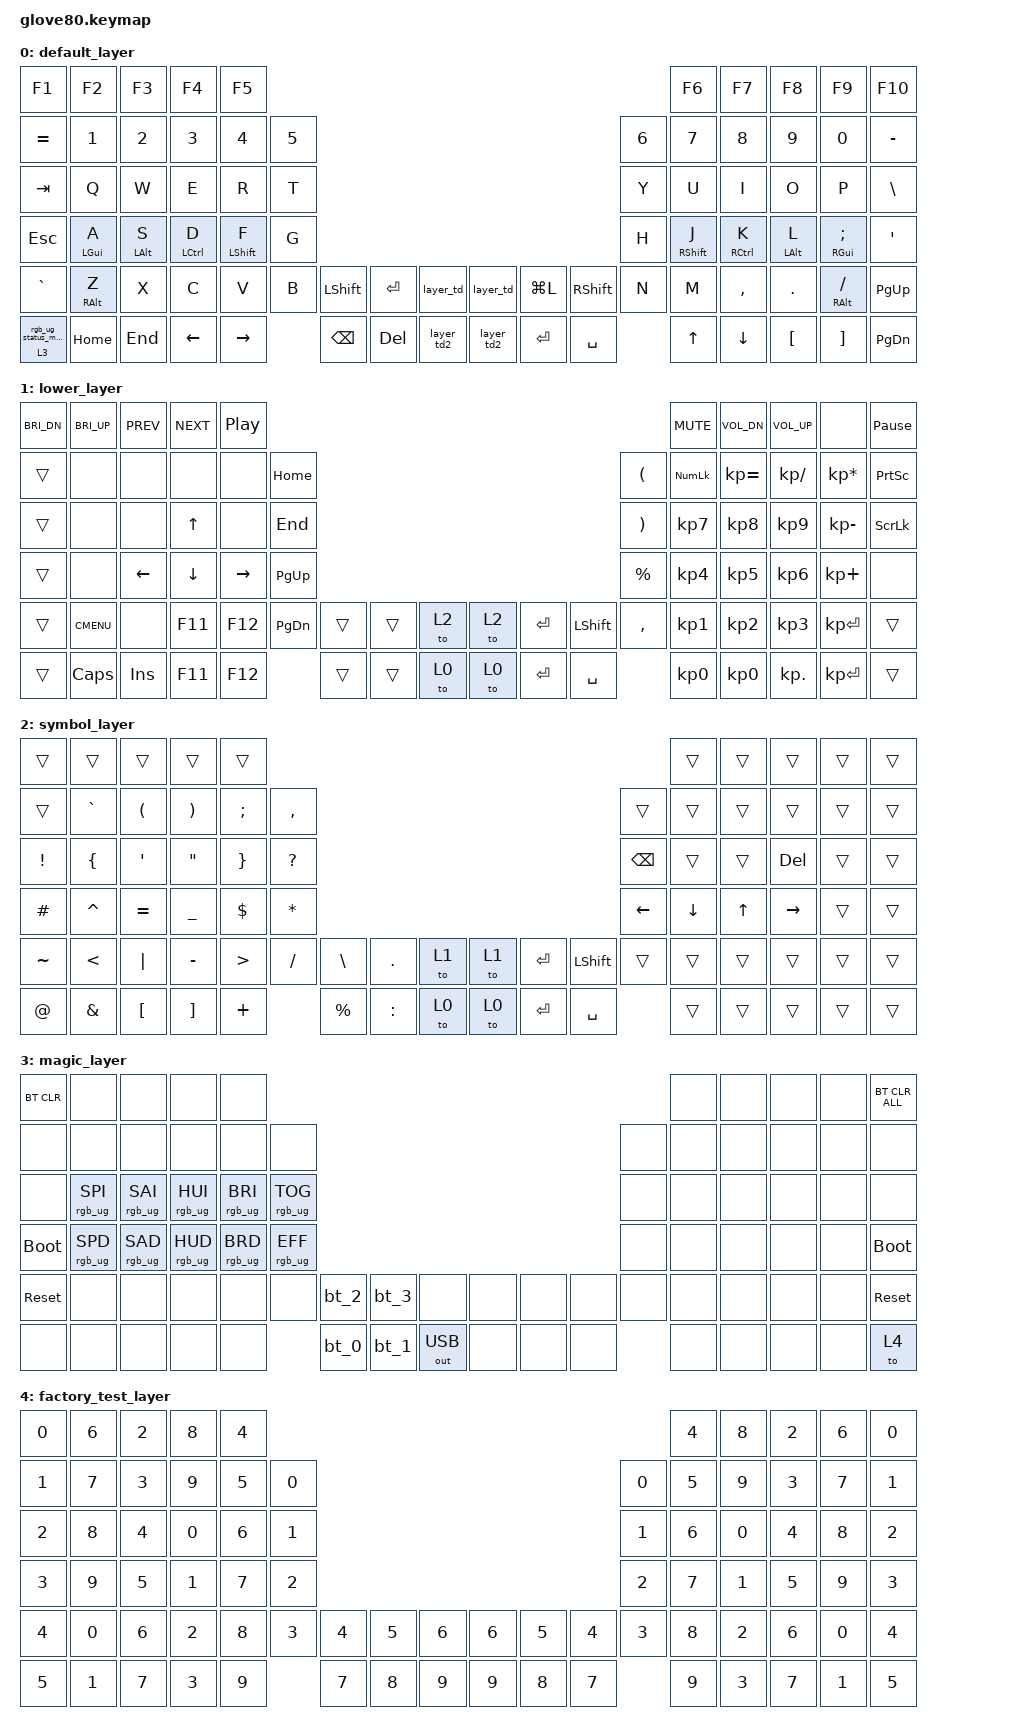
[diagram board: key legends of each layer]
/*
 * Copyright (c) 2020 The ZMK Contributors
 *
 * SPDX-License-Identifier: MIT
 */

#include <behaviors.dtsi>
#include <dt-bindings/zmk/bt.h>
#include <dt-bindings/zmk/keys.h>
#include <dt-bindings/zmk/outputs.h>
#include <dt-bindings/zmk/rgb.h>

#define HYPER LC(LS(LG(LALT)))

// layers

#define DEFAULT 0
#define LOWER 1
#define MAGIC 2
#define FACTORY_TEST 3

/ {
    behaviors {
        // For the "layer" key, it'd nice to be able to use it as either a shift or a toggle.
        // Configure it as a tap dance, so the first tap (or hold) is a &mo and the second tap is a &to

        layer_td: tap_dance_0 {
            compatible = "zmk,behavior-tap-dance";
            label = "LAYER_TAP_DANCE";
            #binding-cells = <0>;
            tapping-term-ms = <200>;
            bindings = <&mo 1>, <&to 1>;
        };

        magic: magic_hold_tap {
            compatible = "zmk,behavior-hold-tap";
            label = "MAGIC_HOLD_TAP";
            #binding-cells = <2>;
            flavor = "tap-preferred";
            tapping-term-ms = <200>;
            bindings = <&mo>, <&rgb_ug_status_macro>;
        };

        hml: hml {
            compatible = "zmk,behavior-hold-tap";
            label = "HML";
            #binding-cells = <2>;
            bindings = <&kp>, <&kp>;

            require-prior-idle-ms = <150>;
            tapping-term-ms = <280>;
            quick-tap-ms = <175>;
            flavor = "balanced";
            hold-trigger-on-release;
            hold-trigger-key-positions = <16 17 18 19 20 21 28 29 30 31 32 33 40 41 42 43 44 45 58 59 60 61 62 63 75 76 77 78 79 55 56 57 72 73 74 52 53 54 69 70 71>;
        };

        hmr: hmr {
            compatible = "zmk,behavior-hold-tap";
            label = "HMR";
            #binding-cells = <2>;
            bindings = <&kp>, <&kp>;

            require-prior-idle-ms = <150>;
            tapping-term-ms = <280>;
            quick-tap-ms = <175>;
            flavor = "balanced";
            hold-trigger-on-release;
            hold-trigger-key-positions = <10 11 22 23 24 25 26 27 34 35 36 37 38 39 46 47 48 49 50 51 64 65 66 67 68 69 12 13 14 15 52 53 54 70 71 55 56 72 73 74 57>;
        };

        layer_td2: layer_td2 {
            compatible = "zmk,behavior-tap-dance";
            label = "LAYER_TD2";
            #binding-cells = <0>;
            tapping-term-ms = <200>;
            bindings = <&mo 2>, <&to 2>;
        };
    };

    macros {
        rgb_ug_status_macro: rgb_ug_status_macro_0 {
            label = "RGB_UG_STATUS";
            compatible = "zmk,behavior-macro";
            #binding-cells = <0>;
            bindings = <&rgb_ug RGB_STATUS>;
        };

        bt_0: bt_profile_macro_0 {
            label = "BT_0";
            compatible = "zmk,behavior-macro";
            #binding-cells = <0>;
            bindings = <&out OUT_BLE &bt BT_SEL 0>;
        };

        bt_1: bt_profile_macro_1 {
            label = "BT_1";
            compatible = "zmk,behavior-macro";
            #binding-cells = <0>;
            bindings = <&out OUT_BLE &bt BT_SEL 1>;
        };

        bt_2: bt_profile_macro_2 {
            label = "BT_2";
            compatible = "zmk,behavior-macro";
            #binding-cells = <0>;
            bindings = <&out OUT_BLE &bt BT_SEL 2>;
        };

        bt_3: bt_profile_macro_3 {
            label = "BT_3";
            compatible = "zmk,behavior-macro";
            #binding-cells = <0>;
            bindings = <&out OUT_BLE &bt BT_SEL 3>;
        };
    };

    keymap {
        compatible = "zmk,keymap";

        default_layer {
            // ---------------------------------------------------------------------------------------------------------------------------------
            // |  F1   |  F2 |  F3 |  F4  |  F5  |                                                               |  F6   |  F7   |  F8  |   F9  |  F10 |
            // |  =    |  1  |  2  |  3   |  4   |  5   |                                                 |  6   |   7   |   8   |  9   |   0   |   -  |
            // |  TAB  |  Q  |  W  |  E   |  R   |  T   |                                                 |  Y   |   U   |   I   |  O   |   P   |   \  |
            // |  ESC  |  A  |  S  |  D   |  F   |  G   |                                                 |  H   |   J   |   K   |  L   |   ;   |   '  |
            // |   `   |  Z  |  X  |  C   |  V   |  B   | LSHFT | LCTRL | LOWER | | LGUI  | RCTRL | RSHFT |  N   |   M   |   ,   |  .   |   /   | PGUP |
            // | MAGIC | HOME| END | LEFT | RIGHT|      | BSPC  | DEL   | LALT  | | RALT  | RET   | SPACE |      |  UP   | DOWN  |  [   |   ]   | PGDN |

            bindings = <
&kp F1      &kp F2            &kp F3           &kp F4        &kp F5                                                                                             &kp F6         &kp F7        &kp F8           &kp F9          &kp F10
&kp EQUAL   &kp N1            &kp N2           &kp N3        &kp N4         &kp N5                                                                      &kp N6  &kp N7         &kp N8        &kp N9           &kp N0          &kp MINUS
&kp TAB     &kp Q             &kp W            &kp E         &kp R          &kp T                                                                       &kp Y   &kp U          &kp I         &kp O            &kp P           &kp BSLH
&kp ESC     &hml LGUI A       &hml LEFT_ALT S  &hml LCTRL D  &hml LSHIFT F  &kp G                                                                       &kp H   &hmr RSHIFT J  &hmr RCTRL K  &hmr LEFT_ALT L  &hmr RGUI SEMI  &kp SQT
&kp GRAVE   &hml RIGHT_ALT Z  &kp X            &kp C         &kp V          &kp B   &kp LSHFT  &kp ENTER  &layer_td   &layer_td   &kp LG(L)  &kp RSHFT  &kp N   &kp M          &kp COMMA     &kp DOT          &hmr RALT FSLH  &kp PG_UP
&magic 3 0  &kp HOME          &kp END          &kp LEFT      &kp RIGHT              &kp BSPC   &kp DEL    &layer_td2  &layer_td2  &kp RET    &kp SPACE          &kp UP         &kp DOWN      &kp LBKT         &kp RBKT        &kp PG_DN
            >;
        };

        lower_layer {
            bindings = <
&kp C_BRI_DN  &kp C_BRI_UP  &kp C_PREV  &kp C_NEXT  &kp C_PP                                                                                  &kp C_MUTE  &kp C_VOL_DN  &kp C_VOL_UP   &none            &kp PAUSE_BREAK
&trans        &none         &none       &none       &none      &kp HOME                                                            &kp LPAR   &kp KP_NUM  &kp KP_EQUAL  &kp KP_DIVIDE  &kp KP_MULTIPLY  &kp PSCRN
&trans        &none         &none       &kp UP      &none      &kp END                                                             &kp RPAR   &kp KP_N7   &kp KP_N8     &kp KP_N9      &kp KP_MINUS     &kp SLCK
&trans        &none         &kp LEFT    &kp DOWN    &kp RIGHT  &kp PG_UP                                                           &kp PRCNT  &kp KP_N4   &kp KP_N5     &kp KP_N6      &kp KP_PLUS      &none
&trans        &kp K_CMENU   &none       &kp F11     &kp F12    &kp PG_DN  &trans  &trans  &to 2  &to 2  &kp ENTER  &kp LEFT_SHIFT  &kp COMMA  &kp KP_N1   &kp KP_N2     &kp KP_N3      &kp KP_ENTER     &trans
&trans        &kp CAPS      &kp INS     &kp F11     &kp F12               &trans  &trans  &to 0  &to 0  &kp ENTER  &kp SPACE                  &kp KP_N0   &kp KP_N0     &kp KP_DOT     &kp KP_ENTER     &trans
            >;
        };

        symbol_layer {
            bindings = <
&trans           &trans          &trans                &trans                 &trans                                                                                                             &trans    &trans  &trans      &trans  &trans
&trans           &kp GRAVE       &kp LEFT_PARENTHESIS  &kp RIGHT_PARENTHESIS  &kp SEMICOLON     &kp COMMA                                                                         &trans         &trans    &trans  &trans      &trans  &trans
&kp EXCLAMATION  &kp LEFT_BRACE  &kp SINGLE_QUOTE      &kp DOUBLE_QUOTES      &kp RIGHT_BRACE   &kp QUESTION                                                                      &kp BACKSPACE  &trans    &trans  &kp DELETE  &trans  &trans
&kp HASH         &kp CARET       &kp EQUAL             &kp UNDERSCORE         &kp DOLLAR        &kp ASTERISK                                                                      &kp LEFT       &kp DOWN  &kp UP  &kp RIGHT   &trans  &trans
&kp TILDE        &kp LESS_THAN   &kp PIPE              &kp MINUS              &kp GREATER_THAN  &kp SLASH     &kp BACKSLASH  &kp PERIOD  &to 1  &to 1  &kp ENTER  &kp LEFT_SHIFT  &trans         &trans    &trans  &trans      &trans  &trans
&kp AT_SIGN      &kp AMPERSAND   &kp LEFT_BRACKET      &kp RIGHT_BRACKET      &kp PLUS                        &kp PERCENT    &kp COLON   &to 0  &to 0  &kp ENTER  &kp SPACE                      &trans    &trans  &trans      &trans  &trans
            >;
        };

        magic_layer {
            bindings = <
&bt BT_CLR   &none            &none            &none            &none                                                                                     &none  &none  &none  &none  &bt BT_CLR_ALL
&none        &none            &none            &none            &none            &none                                                             &none  &none  &none  &none  &none  &none
&none        &rgb_ug RGB_SPI  &rgb_ug RGB_SAI  &rgb_ug RGB_HUI  &rgb_ug RGB_BRI  &rgb_ug RGB_TOG                                                   &none  &none  &none  &none  &none  &none
&bootloader  &rgb_ug RGB_SPD  &rgb_ug RGB_SAD  &rgb_ug RGB_HUD  &rgb_ug RGB_BRD  &rgb_ug RGB_EFF                                                   &none  &none  &none  &none  &none  &bootloader
&sys_reset   &none            &none            &none            &none            &none            &bt_2  &bt_3  &none         &none  &none  &none  &none  &none  &none  &none  &none  &sys_reset
&none        &none            &none            &none            &none                             &bt_0  &bt_1  &out OUT_USB  &none  &none  &none         &none  &none  &none  &none  &to 4
            >;
        };

        factory_test_layer {
            bindings = <
&kp N0  &kp N6  &kp N2  &kp N8  &kp N4                                                                  &kp N4  &kp N8  &kp N2  &kp N6  &kp N0
&kp N1  &kp N7  &kp N3  &kp N9  &kp N5  &kp N0                                                  &kp N0  &kp N5  &kp N9  &kp N3  &kp N7  &kp N1
&kp N2  &kp N8  &kp N4  &kp N0  &kp N6  &kp N1                                                  &kp N1  &kp N6  &kp N0  &kp N4  &kp N8  &kp N2
&kp N3  &kp N9  &kp N5  &kp N1  &kp N7  &kp N2                                                  &kp N2  &kp N7  &kp N1  &kp N5  &kp N9  &kp N3
&kp N4  &kp N0  &kp N6  &kp N2  &kp N8  &kp N3  &kp N4  &kp N5  &kp N6  &kp N6  &kp N5  &kp N4  &kp N3  &kp N8  &kp N2  &kp N6  &kp N0  &kp N4
&kp N5  &kp N1  &kp N7  &kp N3  &kp N9          &kp N7  &kp N8  &kp N9  &kp N9  &kp N8  &kp N7          &kp N9  &kp N3  &kp N7  &kp N1  &kp N5
            >;
        };
    };
};
